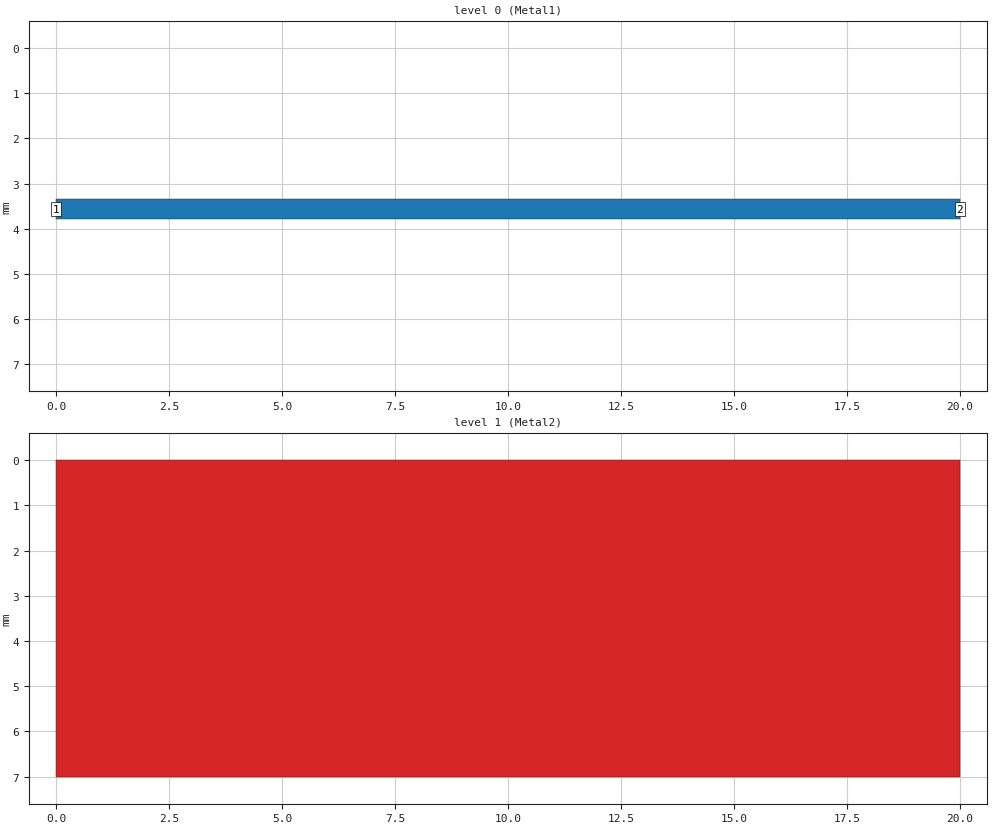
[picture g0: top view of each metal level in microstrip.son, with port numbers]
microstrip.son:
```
FTYP SONPROJ 19 ! Sonnet Project File
VER 18.53
HEADER
LIC SL622ff960
DAT 07/19/2022 19:56:14
BUILT_BY_CREATED xgeom 18.53-Lite 07/10/2022 23:02:48
BUILT_BY_SAVED sonnet 18.53-Lite
MDATE 07/11/2022 15:25:45
HDATE 07/11/2022 15:25:45
END HEADER
DIM
ANG DEG
CAP PF
CON /OH
FREQ GHZ
IND NH
LNG MM
RES OH
END DIM
CONTROL
VARSWP
OPTIONS  -dj
SPEED 0
CACHE_ABS 2
Q_ACC N
END CONTROL
GEO
TMET "Lossless" 0 SUP 0 0 0 0
BMET "Lossless" 0 SUP 0 0 0 0
MET "Copper" 1 NOR 58000000 0.5 0.03500000112 
MET "Copper2" 2 NOR 58000000 0.5 0.0152000000038 
MET "Copper" 1 VOL 58000000 SOLID 0
BOX 1 20 7 158 330 20 0
      5 1 1 0 0 0 0 "Air"
      0.2104 4.6 1 0.02 0 0 0 "FR-4"
TECHLAY METAL Metal1 <UNSPECIFIED> -2 -65534 
0 0 0 N 424 1 1 100 100 0 0 0 Y
END
END
TECHLAY METAL Metal2 <UNSPECIFIED> -3 -65534 
1 0 1 N 429 1 1 100 100 0 0 0 Y
END
END
VALVAR l LNG 0.4307345984389 "Dim. Param."
VCNSTR EM l 0 UNK AUTO
VCNSTR OPT l 0.1 1 ON 
LORGN 0 7 U 
POR1 BOX
POLY 412 1
3
1 50 0 0 0 0 3.563636364 
POR1 BOX
POLY 412 1
1
2 50 0 0 0 20 3.563636364 
NUM 2
0 5 0 N 412 1 1 100 100 0 0 0 Y
TLAYNAM Metal1 INH
0 3.348269064
20 3.348269064
20 3.779003663
0 3.779003663
0 3.348269064
END
1 5 1 N 251 1 1 100 100 0 0 0 Y
TLAYNAM Metal2 NOH
2.405053934e-11 0
20 0
20 7
2.405053934e-11 7
2.405053934e-11 0
END
END GEO
OPT
MAX 100
ENABLED Y
FREQ Y ABS_ENTRY 1.0 6.0 -1 300 
GOAL Y NET=GEO DB[S11] < VALUE=-20.0 1.0
END
END OPT
VARSWP
ENABLED Y
FREQ Y AY SWEEP 6.0 10.0 0.1
FREQ N AY ABS_ENTRY 0.0 20.0 -1 300 
VAR l N 0.76363636 0.76363636 UNDEF
END
END VARSWP
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```
